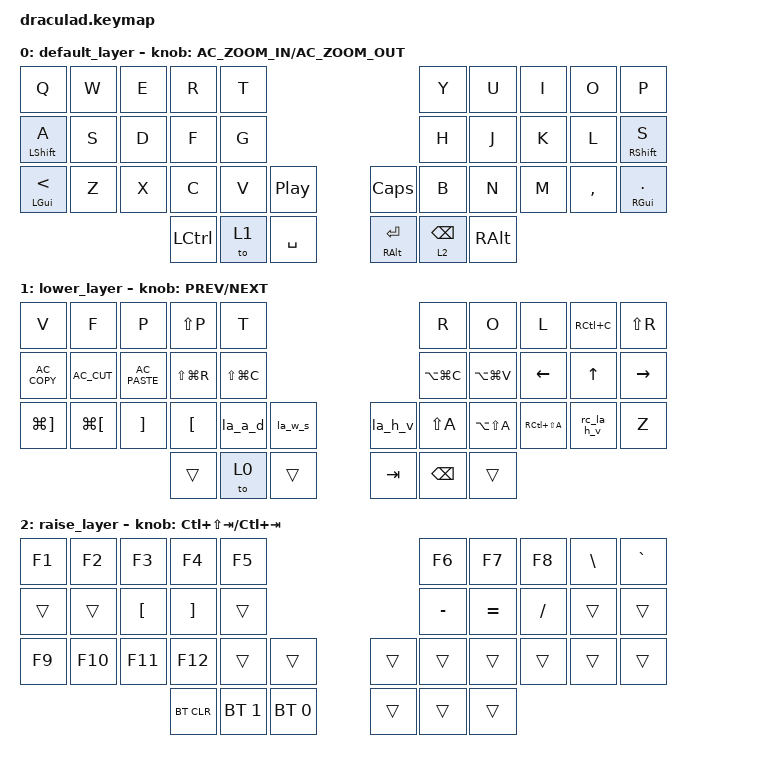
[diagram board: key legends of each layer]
#include <dt-bindings/zmk/keys.h>
#include <behaviors.dtsi>
#include <dt-bindings/zmk/bt.h>
#include <dt-bindings/zmk/mouse.h>


/ {

  behaviors {
    gqt: global-quick-tap {
      compatible = "zmk,behavior-hold-tap";
      label = "GLOBAL_QUICK_TAP";
      #binding-cells = <2>;
      flavor = "tap-preferred";
      tapping-term-ms = <200>;
      quick-tap-ms = <125>;
      global-quick-tap;
      bindings = <&kp>, <&kp>;
    };
  };

  macros {
    la_a_d: la_a_d {
      compatible = "zmk,behavior-macro";
      #binding-cells = <0>;
      bindings
        = <&macro_press &kp LALT>
        , <&macro_tap &kp A &kp D>
        , <&macro_release &kp LALT>
        ;
    };
    la_w_s: la_w_s {
      compatible = "zmk,behavior-macro";
      #binding-cells = <0>;
      bindings
        = <&macro_press &kp LALT>
        , <&macro_tap &kp W &kp S>
        , <&macro_release &kp LALT>
        ;
    };
    la_h_v: la_h_v {
      compatible = "zmk,behavior-macro";
      #binding-cells = <0>;
      bindings
        = <&macro_press &kp LALT>
        , <&macro_tap &kp H &kp V>
        , <&macro_release &kp LALT>
        ;
    };
    rc_la_h_v: rc_la_h_v {
      compatible = "zmk,behavior-macro";
      #binding-cells = <0>;
      bindings
        = <&macro_press &kp RCTRL>
        , <&macro_press &kp LALT>
        , <&macro_tap &kp H &kp V>
        , <&macro_release &kp LALT>
        , <&macro_release &kp RCTRL>
        ;
    };
  };

  keymap {
    compatible = "zmk,keymap";
    default_layer {
      bindings = <
        &kp Q                &kp W       &kp E       &kp R       &kp T                                 &kp Y           &kp U        &kp I      &kp O       &kp P        
        &gqt LSHIFT A        &kp S       &kp D       &kp F       &kp G                                 &kp H           &kp J        &kp K      &kp L       &gqt RSHIFT S
        &gqt LGUI LESS_THAN  &kp Z       &kp X       &kp C       &kp V       &kp C_PP       &kp CLCK   &kp B           &kp N        &kp M      &kp COMMA   &gqt RGUI DOT  
        &kp LCTRL   &to 1   &kp SPACE                                 &gqt RALT RET   &lt 2 BSPC   &kp RALT
      >;
      sensor-bindings = <&inc_dec_kp C_AC_ZOOM_IN C_AC_ZOOM_OUT>;
    };

    lower_layer {
      bindings = <
        &kp V           &kp F             &kp P               &kp LS(P)        &kp T                                            &kp R            &kp O           &kp L          &kp RC(C)        &kp LS(R)   
        &kp C_AC_COPY   &kp C_AC_CUT      &kp C_AC_PASTE      &kp LS(LG(R))    &kp LS(LG(C))                                    &kp LA(LG(C))    &kp LA(LG(V))   &kp LEFT       &kp UP           &kp RIGHT
        &kp LG(RBKT)    &kp LG(LBKT)      &kp RBKT            &kp LBKT         &la_a_d             &la_w_s    &la_h_v                 &kp LS(A)        &kp LA(LS(A))   &kp RC(LS(A))  &rc_la_h_v            &kp Z
        &trans              &to 0            &trans                                           &kp TAB          &kp BSPC        &trans
      >;
      sensor-bindings = <&inc_dec_kp C_PREV C_NEXT>;
    };

    raise_layer {
      bindings = <
        &kp F1   &kp F2    &kp F3       &kp F4         &kp F5                               &kp F6      &kp F7      &kp F8      &kp BSLH   &kp GRAVE
        &trans   &trans    &kp LBKT     &kp RBKT       &trans                               &kp MINUS   &kp EQUAL   &kp SLASH   &trans     &trans   
        &kp F9   &kp F10   &kp F11      &kp F12        &trans      &trans          &trans   &trans      &trans      &trans      &trans     &trans   
        &bt BT_CLR   &bt BT_SEL 1   &bt BT_SEL 0                         &trans      &trans      &trans
      >;
      sensor-bindings = <&inc_dec_kp LC(LS(TAB)) LC(TAB)>;
    };
  };
};
